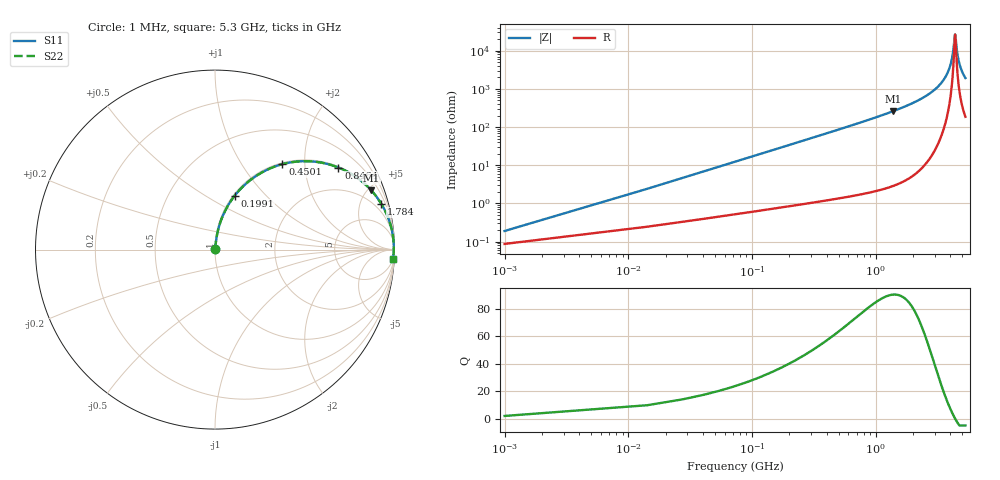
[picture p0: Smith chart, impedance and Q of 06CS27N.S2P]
! Coilcraft 0603CS-27N Chip Inductor
! 21 May 2002
# MHZ S MA R 50
!Freq  MagS11  AngS11  MagS21  AngS21  MagS12  AngS12  MagS22  AngS22
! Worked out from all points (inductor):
!   403 points, 1 MHz to 5.3 GHz, reference 50 ohm
!   read as one part in series: L = 27 nH near 27.42 MHz
!   highest Q = 90.6 at 1.388 GHz (marker M1), where L = 30 nH
!   self-resonance near 4.374 GHz
!   S11 on the Smith chart (normalised r, x): 1 MHz: 1.00, +0.00; 199.2 MHz: 1.02, +0.68; 450.1 MHz: 1.03, +1.54; 846.4 MHz: 1.04, +2.98; 1.784 GHz: 1.08, +7.26; 5.3 GHz: 5, -38
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1  0.001907 62.6  0.9991 -0.1  0.9991 -0.1  0.001907 62.6
40.63  0.06861 82.8  0.9937 -3.9  0.9937 -3.9  0.06861 82.8
53.84  0.09068 82.0  0.9914 -5.2  0.9914 -5.2  0.09068 82.0
106.68  0.1772 77.8  0.9781 -10.2  0.9781 -10.2  0.1772 77.8
199.15  0.3184 70.0  0.9401 -18.6  0.9401 -18.6  0.3184 70.0
304.83  0.4574 61.6  0.8801 -27.2  0.8801 -27.2  0.4574 61.6
450.14  0.6062 51.7  0.7853 -37.3  0.7853 -37.3  0.6062 51.7
846.44  0.8259 33.6  0.5536 -55.7  0.5536 -55.7  0.8259 33.6
886.07  0.8384 32.3  0.5349 -57.0  0.5349 -57.0  0.8384 32.3
1388.05  0.9308 20.8  0.3555 -68.5  0.3555 -68.5  0.9308 20.8
1771.14  0.9605 15.5  0.2673 -73.8  0.2673 -73.8  0.9605 15.5
1784.35  0.9613 15.4  0.2647 -74.0  0.2647 -74.0  0.9613 15.4
2656.21  0.9878 8.0  0.1385 -81.0  0.1385 -81.0  0.9878 8.0
3541.28  0.9954 3.3  0.05727 -83.8  0.05727 -83.8  0.9954 3.3
4003.63  0.9964 1.4  0.02417 -80.6  0.02417 -80.6  0.9964 1.4
4188.57  0.9964 0.7  0.01231 -72.6  0.01231 -72.6  0.9964 0.7
4360.3  0.9963 0.1  0.003875 -15.0  0.003875 -15.0  0.9963 0.1
4426.35  0.9962 -0.2  0.004872 38.2  0.004872 38.2  0.9962 -0.2
4558.45  0.996 -0.6  0.01161 69.3  0.01161 69.3  0.996 -0.6
4716.97  0.9956 -1.2  0.02051 77.1  0.02051 77.1  0.9956 -1.2
4967.96  0.9949 -1.9  0.03432 80.5  0.03432 80.5  0.9949 -1.9
5300  0.9937 -3.0  0.05175 81.5  0.05175 81.5  0.9937 -3.0
